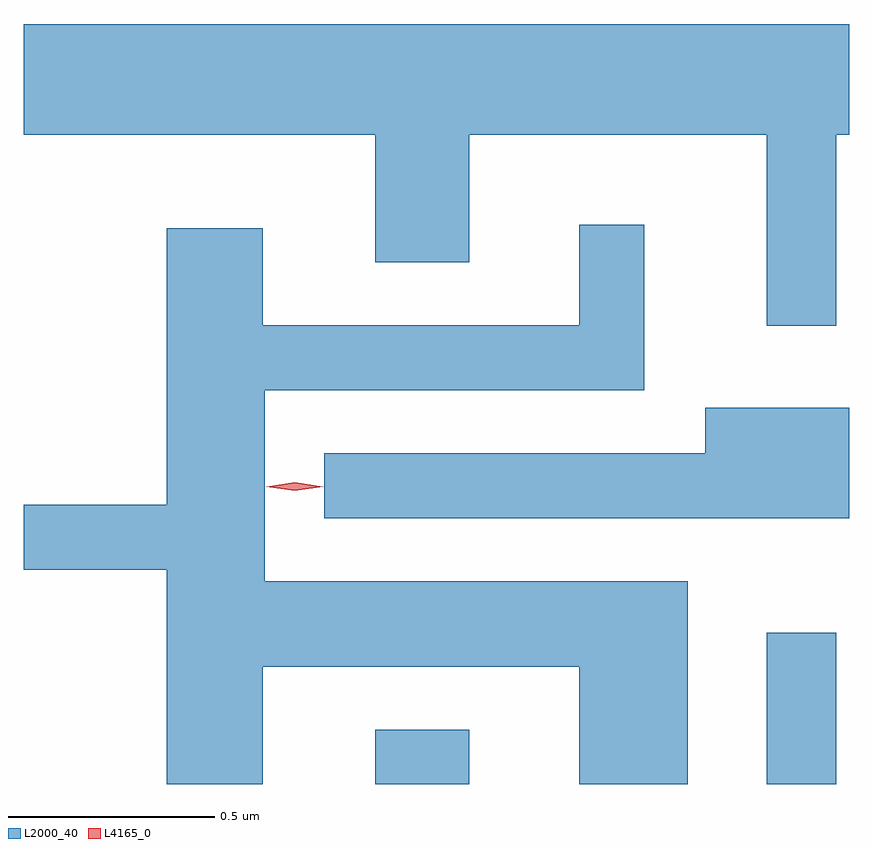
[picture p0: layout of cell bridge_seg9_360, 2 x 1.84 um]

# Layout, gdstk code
import gdstk
lib = gdstk.Library(unit=1e-6, precision=1e-09)
def R(c, l, rs):  # rectangles x0, y0, x1, y1
    for r in rs: c.add(gdstk.rectangle(r[:2], r[2:], *l))
def P(c, l, *ps):  # polygons
    for p in ps: c.add(gdstk.Polygon(p, *l))
L2000_40 = (2000, 40)
L4165_0 = (4165, 0)

bridge_seg9_360 = lib.new_cell('bridge_seg9_360')
R(bridge_seg9_360, L2000_40, [(721.591,1981.362,721.819,1981.494), (722.541,1981.362,722.709,1981.728)])
P(bridge_seg9_360, L2000_40, [(722.709,1982.936),(722.74,1982.936),(722.74,1983.204),(720.74,1983.204),(720.74,1982.936),(721.591,1982.936),(721.591,1982.626),(721.819,1982.626),(721.819,1982.936),(722.541,1982.936),(722.541,1982.473),(722.709,1982.473)],
  [(721.319,1981.646),(722.086,1981.646),(722.086,1981.362),(722.349,1981.362),(722.349,1981.854),(721.324,1981.854),(721.324,1982.316),(722.244,1982.316),(722.244,1982.718),(722.086,1982.718),(722.086,1982.474),(721.319,1982.474),(721.319,1982.709),(721.086,1982.709),(721.086,1982.039),(720.74,1982.039),(720.74,1981.881),(721.086,1981.881),(721.086,1981.362),(721.319,1981.362)],
  [(722.74,1982.274),(722.391,1982.274),(722.391,1982.164),(721.468,1982.164),(721.468,1982.006),(722.74,1982.006)])
P(bridge_seg9_360, L4165_0, [(721.397,1982.073),(721.327,1982.082),(721.327,1982.083),(721.327,1982.083),(721.397,1982.093),(721.466,1982.083),(721.466,1982.083),(721.466,1982.082)],
  [(721.397,1982.073),(721.332,1982.082),(721.331,1982.083),(721.332,1982.083),(721.397,1982.093),(721.462,1982.083),(721.463,1982.083),(721.462,1982.082)])

lib.write_gds('bridge_seg9_360.gds')
